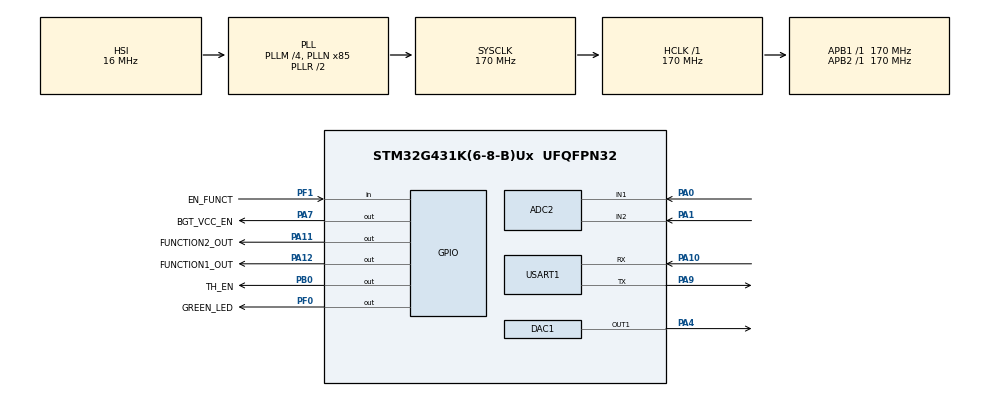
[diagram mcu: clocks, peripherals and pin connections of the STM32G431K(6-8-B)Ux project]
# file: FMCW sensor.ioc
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ADC2.Channel-0\#ChannelRegularConversion=ADC_CHANNEL_1
ADC2.Channel-1\#ChannelRegularConversion=ADC_CHANNEL_2
ADC2.ExternalTrigConv=ADC_EXTERNALTRIG_T7_TRGO
ADC2.NbrOfConversion=2
ADC2.NbrOfConversionFlag=1
ADC2.OffsetNumber-0\#ChannelRegularConversion=ADC_OFFSET_NONE
ADC2.OffsetNumber-1\#ChannelRegularConversion=ADC_OFFSET_NONE
ADC2.Rank-0\#ChannelRegularConversion=1
ADC2.Rank-1\#ChannelRegularConversion=2
ADC2.SamplingTime-0\#ChannelRegularConversion=ADC_SAMPLETIME_2CYCLES_5
ADC2.SamplingTime-1\#ChannelRegularConversion=ADC_SAMPLETIME_2CYCLES_5
DAC1.DAC_Trigger_OUT1-DAC_OUT1=DAC_TRIGGER_T6_TRGO
Dma.ADC2.1.Direction=DMA_PERIPH_TO_MEMORY
Dma.ADC2.1.EventEnable=DISABLE
Dma.ADC2.1.Instance=DMA1_Channel2
Dma.ADC2.1.MemDataAlignment=DMA_MDATAALIGN_HALFWORD
Dma.ADC2.1.MemInc=DMA_MINC_ENABLE
Dma.ADC2.1.Mode=DMA_CIRCULAR
Dma.ADC2.1.PeriphDataAlignment=DMA_PDATAALIGN_HALFWORD
Dma.ADC2.1.PeriphInc=DMA_PINC_DISABLE
Dma.ADC2.1.Polarity=HAL_DMAMUX_REQ_GEN_RISING
Dma.ADC2.1.Priority=DMA_PRIORITY_LOW
Dma.ADC2.1.RequestNumber=1
Dma.ADC2.1.SignalID=NONE
Dma.ADC2.1.SyncEnable=DISABLE
Dma.ADC2.1.SyncPolarity=HAL_DMAMUX_SYNC_NO_EVENT
Dma.ADC2.1.SyncRequestNumber=1
Dma.ADC2.1.SyncSignalID=NONE
Dma.DAC1_CH1.0.Direction=DMA_MEMORY_TO_PERIPH
Dma.DAC1_CH1.0.EventEnable=DISABLE
Dma.DAC1_CH1.0.Instance=DMA1_Channel1
Dma.DAC1_CH1.0.MemDataAlignment=DMA_MDATAALIGN_WORD
Dma.DAC1_CH1.0.MemInc=DMA_MINC_ENABLE
Dma.DAC1_CH1.0.Mode=DMA_CIRCULAR
Dma.DAC1_CH1.0.PeriphDataAlignment=DMA_PDATAALIGN_WORD
Dma.DAC1_CH1.0.PeriphInc=DMA_PINC_DISABLE
Dma.DAC1_CH1.0.Polarity=HAL_DMAMUX_REQ_GEN_RISING
Dma.DAC1_CH1.0.Priority=DMA_PRIORITY_LOW
Dma.DAC1_CH1.0.RequestNumber=1
Dma.DAC1_CH1.0.SignalID=NONE
Dma.DAC1_CH1.0.SyncEnable=DISABLE
Dma.DAC1_CH1.0.SyncPolarity=HAL_DMAMUX_SYNC_NO_EVENT
Dma.DAC1_CH1.0.SyncRequestNumber=1
Dma.DAC1_CH1.0.SyncSignalID=NONE
Dma.Request0=DAC1_CH1
Dma.Request1=ADC2
Mcu.Family=STM32G4
Mcu.Name=STM32G431K(6-8-B)Ux
Mcu.Package=UFQFPN32
NVIC.DMA1_Channel1_IRQn=true\:0\:0\:false\:false\:true\:false\:true\:true
NVIC.DMA1_Channel2_IRQn=true\:0\:0\:false\:false\:true\:false\:true\:true
NVIC.PriorityGroup=NVIC_PRIORITYGROUP_4
NVIC.TIM1_CC_IRQn=true\:0\:0\:false\:false\:true\:true\:true\:true
PA0.Mode=IN1-Single-Ended
PA0.Signal=ADC2_IN1
PA1.Mode=IN2-Single-Ended
PA1.Signal=ADC2_IN2
PA10.Mode=Asynchronous
PA10.Signal=USART1_RX
PA11.GPIO_Label=FUNCTION2_OUT
PA11.Signal=GPIO_Output
PA12.GPIO_Label=FUNCTION1_OUT
PA12.Signal=GPIO_Output
PA13.Mode=Trace_Asynchronous_SW
PA13.Signal=SYS_JTMS-SWDIO
PA14.Mode=Trace_Asynchronous_SW
PA14.Signal=SYS_JTCK-SWCLK
PA4.Signal=COMP_DAC11_group
PA7.GPIO_Label=BGT_VCC_EN
PA7.PinState=GPIO_PIN_SET
PA7.Signal=GPIO_Output
PA9.Mode=Asynchronous
PA9.Signal=USART1_TX
PB0.GPIO_Label=TH_EN
PB0.Signal=GPIO_Output
PB3.Mode=Trace_Asynchronous_SW
PB3.Signal=SYS_JTDO-SWO
PF0-OSC_IN.GPIO_Label=GREEN_LED
PF0-OSC_IN.Signal=GPIO_Output
PF1-OSC_OUT.GPIO_Label=EN_FUNCT
PF1-OSC_OUT.Signal=GPIO_Input
ProjectManager.HeapSize=0x200
ProjectManager.StackSize=0x400
ProjectManager.TargetToolchain=STM32CubeIDE
RCC.ADC12Freq_Value=170000000
RCC.AHBFreq_Value=170000000
RCC.APB1Freq_Value=170000000
RCC.APB1TimFreq_Value=170000000
RCC.APB2Freq_Value=170000000
RCC.APB2TimFreq_Value=170000000
RCC.CortexFreq_Value=170000000
RCC.EXTERNAL_CLOCK_VALUE=12288000
RCC.HCLKFreq_Value=170000000
RCC.HSE_VALUE=8000000
RCC.HSI48_VALUE=48000000
RCC.HSI_VALUE=16000000
RCC.LSE_VALUE=32768
RCC.PLLM=RCC_PLLM_DIV4
RCC.PLLN=85
RCC.SYSCLKFreq_VALUE=170000000
RCC.SYSCLKSource=RCC_SYSCLKSOURCE_PLLCLK
RCC.USBFreq_Value=170000000
RCC.VCOOutputFreq_Value=340000000
SH.COMP_DAC11_group.0=DAC1_OUT1,DAC_OUT1
TIM1.Channel-PWM\ Generation1\ No\ Output=TIM_CHANNEL_1
TIM1.Channel-PWM\ Generation2\ No\ Output=TIM_CHANNEL_2
TIM1.PeriodNoDither=500
TIM1.Prescaler=169
TIM1.PulseNoDither_1=20
TIM1.PulseNoDither_2=40
TIM6.PeriodNoDither=2
TIM6.Prescaler=21
TIM6.TIM_MasterOutputTrigger=TIM_TRGO_UPDATE
TIM7.PeriodNoDither=2
TIM7.Prescaler=84
TIM7.TIM_MasterOutputTrigger=TIM_TRGO_UPDATE
USART1.VirtualMode-Asynchronous=VM_ASYNC
VP_SYS_VS_DBSignals.Mode=DisableDeadBatterySignals
VP_TIM1_VS_ClockSourceINT.Mode=Internal
VP_TIM1_VS_no_output1.Mode=PWM Generation1 No Output
VP_TIM1_VS_no_output2.Mode=PWM Generation2 No Output
VP_TIM6_VS_ClockSourceINT.Mode=Enable_Timer
VP_TIM7_VS_ClockSourceINT.Mode=Enable_Timer
board=custom

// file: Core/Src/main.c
/* USER CODE BEGIN Header */
/**
  ******************************************************************************
  * @file           : main.c
  * @brief          : Main program body
  ******************************************************************************
  * @attention
  *
  * Copyright (c) 2024 STMicroelectronics.
  * All rights reserved.
  *
  * This software is licensed under terms that can be found in the LICENSE file
  * in the root directory of this software component.
  * If no LICENSE file comes with this software, it is provided AS-IS.
  *
  ******************************************************************************
  */
/* USER CODE END Header */
#include "main.h"

/* USER CODE BEGIN Includes */

#include "arm_math.h"

/* USER CODE END Includes */

/* USER CODE BEGIN PM */

#define DAC_BUFFER_LEN 		 				1024	// DAC_BUFFLEN steps for in micro seconds
#define DAC_SLOPE_VALUE 	 				2
#define DAC_SLOPE_START_VALUE				50 		//initial value (DAC_SLOPE_START_VALUE+DAC_BUFFLEN*DAC_SLOPE_VALUE)<4096  //850
#define ADC_SAMPLES							256		// 128 двойки числа - комплексни (такта)
#define FFT_BUFFER_SIZE				 ((uint32_t)(ADC_SAMPLES/4))

/* USER CODE END PM */

ADC_HandleTypeDef hadc2;
DMA_HandleTypeDef hdma_adc2;

DAC_HandleTypeDef hdac1;
DMA_HandleTypeDef hdma_dac1_ch1;

TIM_HandleTypeDef htim1;
TIM_HandleTypeDef htim6;
TIM_HandleTypeDef htim7;

UART_HandleTypeDef huart1;

/* USER CODE BEGIN PV */

arm_cfft_radix4_instance_f32 fftHandler;

float fftBufIn[ADC_SAMPLES];
float fftBufOut[ADC_SAMPLES];

uint8_t fftFlag = 0; //Flag for when the transformation is complete
uint8_t do_fft = 0; //Flag for when ADC has new data for us to read

/* I have no idea if these should be volatiles but it works for now */
volatile uint32_t dac_data[DAC_BUFFER_LEN]; //Values for different voltages in the slope of the sawtooth voltage
volatile uint16_t adcBuffer[ADC_SAMPLES + 16]; //Array of ADC data

/* USER CODE END PV */

void SystemClock_Config(void);
static void MX_GPIO_Init(void);
static void MX_DMA_Init(void);
static void MX_ADC2_Init(void);
static void MX_DAC1_Init(void);
static void MX_USART1_UART_Init(void);
static void MX_TIM1_Init(void);
static void MX_TIM6_Init(void);
static void MX_TIM7_Init(void);
/* USER CODE BEGIN PFP */

void DAC_Slope_Init(void);  //Creates an array of steps to use later for the sawtooth voltage (this did not work, so no good looking code here)
void do_fft_func(void);

/* USER CODE END PFP */

int main(void)
{

  /* MCU Configuration--------------------------------------------------------*/

  /* Reset of all peripherals, Initializes the Flash interface and the Systick. */
  HAL_Init();

  /* Configure the system clock */
  SystemClock_Config();

  /* Initialize all configured peripherals */
  MX_GPIO_Init();
  MX_DMA_Init();
  MX_ADC2_Init();
  MX_DAC1_Init();
  MX_USART1_UART_Init();
  MX_TIM1_Init();
  MX_TIM6_Init();
  MX_TIM7_Init();
  /* USER CODE BEGIN 2 */
  /* sawtooth voltage init for now, don't kill me spaghetti code pls */
  for(int16_t i; i < DAC_BUFFER_LEN; i++){
    			dac_data[i] = DAC_SLOPE_START_VALUE + i * DAC_SLOPE_VALUE;
   }

  HAL_TIM_PWM_Start_IT(&htim1, TIM_CHANNEL_1); //Impulse for DAC sawtooth voltage
  HAL_TIM_PWM_Start_IT(&htim1, TIM_CHANNEL_2); //Impulse for ADC read

  /* Ports for high frequency chip */
  HAL_GPIO_WritePin(BGT_VCC_EN_GPIO_Port, BGT_VCC_EN_Pin, RESET);
  HAL_GPIO_WritePin(TH_EN_GPIO_Port, TH_EN_Pin, SET);

  HAL_DAC_Start_DMA(&hdac1, DAC_CHANNEL_1, (uint32_t *)dac_data, DAC_BUFFER_LEN, DAC_ALIGN_12B_R);

  /* FFT init */
  //arm_rfft_fast_init_f32(&fftHandler, FFT_BUFFER_SIZE);

  /* USER CODE END 2 */

  /* Infinite loop */
  /* USER CODE BEGIN WHILE */
  while (1)
  {

	  if(do_fft){
		  do_fft_func();
	  }

    /* USER CODE END WHILE */

  }
}

void SystemClock_Config(void)
{
  RCC_OscInitTypeDef RCC_OscInitStruct = {0};
  RCC_ClkInitTypeDef RCC_ClkInitStruct = {0};

  /** Configure the main internal regulator output voltage
  */
  HAL_PWREx_ControlVoltageScaling(PWR_REGULATOR_VOLTAGE_SCALE1_BOOST);

  /** Initializes the RCC Oscillators according to the specified parameters
  * in the RCC_OscInitTypeDef structure.
  */
  RCC_OscInitStruct.OscillatorType = RCC_OSCILLATORTYPE_HSI;
  RCC_OscInitStruct.HSIState = RCC_HSI_ON;
  RCC_OscInitStruct.HSICalibrationValue = RCC_HSICALIBRATION_DEFAULT;
  RCC_OscInitStruct.PLL.PLLState = RCC_PLL_ON;
  RCC_OscInitStruct.PLL.PLLSource = RCC_PLLSOURCE_HSI;
  RCC_OscInitStruct.PLL.PLLM = RCC_PLLM_DIV4;
  RCC_OscInitStruct.PLL.PLLN = 85;
  RCC_OscInitStruct.PLL.PLLP = RCC_PLLP_DIV2;
  RCC_OscInitStruct.PLL.PLLQ = RCC_PLLQ_DIV2;
  RCC_OscInitStruct.PLL.PLLR = RCC_PLLR_DIV2;
  if (HAL_RCC_OscConfig(&RCC_OscInitStruct) != HAL_OK)
  {
    Error_Handler();
  }

  /** Initializes the CPU, AHB and APB buses clocks
  */
  RCC_ClkInitStruct.ClockType = RCC_CLOCKTYPE_HCLK|RCC_CLOCKTYPE_SYSCLK
                              |RCC_CLOCKTYPE_PCLK1|RCC_CLOCKTYPE_PCLK2;
  RCC_ClkInitStruct.SYSCLKSource = RCC_SYSCLKSOURCE_PLLCLK;
  RCC_ClkInitStruct.AHBCLKDivider = RCC_SYSCLK_DIV1;
  RCC_ClkInitStruct.APB1CLKDivider = RCC_HCLK_DIV1;
  RCC_ClkInitStruct.APB2CLKDivider = RCC_HCLK_DIV1;

  if (HAL_RCC_ClockConfig(&RCC_ClkInitStruct, FLASH_LATENCY_4) != HAL_OK)
  {
    Error_Handler();
  }
}

static void MX_ADC2_Init(void)
{

  ADC_ChannelConfTypeDef sConfig = {0};

  /** Common config
  */
  hadc2.Instance = ADC2;
  hadc2.Init.ClockPrescaler = ADC_CLOCK_SYNC_PCLK_DIV4;
  hadc2.Init.Resolution = ADC_RESOLUTION_12B;
  hadc2.Init.DataAlign = ADC_DATAALIGN_RIGHT;
  hadc2.Init.GainCompensation = 0;
  hadc2.Init.ScanConvMode = ADC_SCAN_ENABLE;
  hadc2.Init.EOCSelection = ADC_EOC_SINGLE_CONV;
  hadc2.Init.LowPowerAutoWait = DISABLE;
  hadc2.Init.ContinuousConvMode = DISABLE;
  hadc2.Init.NbrOfConversion = 2;
  hadc2.Init.DiscontinuousConvMode = DISABLE;
  hadc2.Init.ExternalTrigConv = ADC_EXTERNALTRIG_T7_TRGO;
  hadc2.Init.ExternalTrigConvEdge = ADC_EXTERNALTRIGCONVEDGE_RISING;
  hadc2.Init.DMAContinuousRequests = DISABLE;
  hadc2.Init.Overrun = ADC_OVR_DATA_PRESERVED;
  hadc2.Init.OversamplingMode = DISABLE;
  if (HAL_ADC_Init(&hadc2) != HAL_OK)
  {
    Error_Handler();
  }

  /** Configure Regular Channel
  */
  sConfig.Channel = ADC_CHANNEL_1;
  sConfig.Rank = ADC_REGULAR_RANK_1;
  sConfig.SamplingTime = ADC_SAMPLETIME_2CYCLES_5;
  sConfig.SingleDiff = ADC_SINGLE_ENDED;
  sConfig.OffsetNumber = ADC_OFFSET_NONE;
  sConfig.Offset = 0;
  if (HAL_ADC_ConfigChannel(&hadc2, &sConfig) != HAL_OK)
  {
    Error_Handler();
  }

  /** Configure Regular Channel
  */
  sConfig.Channel = ADC_CHANNEL_2;
  sConfig.Rank = ADC_REGULAR_RANK_2;
  if (HAL_ADC_ConfigChannel(&hadc2, &sConfig) != HAL_OK)
  {
    Error_Handler();
  }

}

static void MX_DAC1_Init(void)
{

  DAC_ChannelConfTypeDef sConfig = {0};

  /** DAC Initialization
  */
  hdac1.Instance = DAC1;
  if (HAL_DAC_Init(&hdac1) != HAL_OK)
  {
    Error_Handler();
  }

  /** DAC channel OUT1 config
  */
  sConfig.DAC_HighFrequency = DAC_HIGH_FREQUENCY_INTERFACE_MODE_AUTOMATIC;
  sConfig.DAC_DMADoubleDataMode = DISABLE;
  sConfig.DAC_SignedFormat = DISABLE;
  sConfig.DAC_SampleAndHold = DAC_SAMPLEANDHOLD_DISABLE;
  sConfig.DAC_Trigger = DAC_TRIGGER_T6_TRGO;
  sConfig.DAC_Trigger2 = DAC_TRIGGER_NONE;
  sConfig.DAC_OutputBuffer = DAC_OUTPUTBUFFER_ENABLE;
  sConfig.DAC_ConnectOnChipPeripheral = DAC_CHIPCONNECT_EXTERNAL;
  sConfig.DAC_UserTrimming = DAC_TRIMMING_FACTORY;
  if (HAL_DAC_ConfigChannel(&hdac1, &sConfig, DAC_CHANNEL_1) != HAL_OK)
  {
    Error_Handler();
  }

}

static void MX_TIM1_Init(void)
{

  TIM_ClockConfigTypeDef sClockSourceConfig = {0};
  TIM_MasterConfigTypeDef sMasterConfig = {0};
  TIM_OC_InitTypeDef sConfigOC = {0};
  TIM_BreakDeadTimeConfigTypeDef sBreakDeadTimeConfig = {0};

  htim1.Instance = TIM1;
  htim1.Init.Prescaler = 169;
  htim1.Init.CounterMode = TIM_COUNTERMODE_UP;
  htim1.Init.Period = 500;
  htim1.Init.ClockDivision = TIM_CLOCKDIVISION_DIV1;
  htim1.Init.RepetitionCounter = 0;
  htim1.Init.AutoReloadPreload = TIM_AUTORELOAD_PRELOAD_DISABLE;
  if (HAL_TIM_Base_Init(&htim1) != HAL_OK)
  {
    Error_Handler();
  }
  sClockSourceConfig.ClockSource = TIM_CLOCKSOURCE_INTERNAL;
  if (HAL_TIM_ConfigClockSource(&htim1, &sClockSourceConfig) != HAL_OK)
  {
    Error_Handler();
  }
  if (HAL_TIM_PWM_Init(&htim1) != HAL_OK)
  {
    Error_Handler();
  }
  sMasterConfig.MasterOutputTrigger = TIM_TRGO_RESET;
  sMasterConfig.MasterOutputTrigger2 = TIM_TRGO2_RESET;
  sMasterConfig.MasterSlaveMode = TIM_MASTERSLAVEMODE_DISABLE;
  if (HAL_TIMEx_MasterConfigSynchronization(&htim1, &sMasterConfig) != HAL_OK)
  {
    Error_Handler();
  }
  sConfigOC.OCMode = TIM_OCMODE_PWM1;
  sConfigOC.Pulse = 20;
  sConfigOC.OCPolarity = TIM_OCPOLARITY_HIGH;
  sConfigOC.OCNPolarity = TIM_OCNPOLARITY_HIGH;
  sConfigOC.OCFastMode = TIM_OCFAST_DISABLE;
  sConfigOC.OCIdleState = TIM_OCIDLESTATE_RESET;
  sConfigOC.OCNIdleState = TIM_OCNIDLESTATE_RESET;
  if (HAL_TIM_PWM_ConfigChannel(&htim1, &sConfigOC, TIM_CHANNEL_1) != HAL_OK)
  {
    Error_Handler();
  }
  sConfigOC.Pulse = 40;
  if (HAL_TIM_PWM_ConfigChannel(&htim1, &sConfigOC, TIM_CHANNEL_2) != HAL_OK)
  {
    Error_Handler();
  }
  sBreakDeadTimeConfig.OffStateRunMode = TIM_OSSR_DISABLE;
  sBreakDeadTimeConfig.OffStateIDLEMode = TIM_OSSI_DISABLE;
  sBreakDeadTimeConfig.LockLevel = TIM_LOCKLEVEL_OFF;
  sBreakDeadTimeConfig.DeadTime = 0;
  sBreakDeadTimeConfig.BreakState = TIM_BREAK_DISABLE;
  sBreakDeadTimeConfig.BreakPolarity = TIM_BREAKPOLARITY_HIGH;
  sBreakDeadTimeConfig.BreakFilter = 0;
  sBreakDeadTimeConfig.BreakAFMode = TIM_BREAK_AFMODE_INPUT;
  sBreakDeadTimeConfig.Break2State = TIM_BREAK2_DISABLE;
  sBreakDeadTimeConfig.Break2Polarity = TIM_BREAK2POLARITY_HIGH;
  sBreakDeadTimeConfig.Break2Filter = 0;
  sBreakDeadTimeConfig.Break2AFMode = TIM_BREAK_AFMODE_INPUT;
  sBreakDeadTimeConfig.AutomaticOutput = TIM_AUTOMATICOUTPUT_DISABLE;
  if (HAL_TIMEx_ConfigBreakDeadTime(&htim1, &sBreakDeadTimeConfig) != HAL_OK)
  {
    Error_Handler();
  }

}

static void MX_TIM6_Init(void)
{

  TIM_MasterConfigTypeDef sMasterConfig = {0};

  htim6.Instance = TIM6;
  htim6.Init.Prescaler = 21;
  htim6.Init.CounterMode = TIM_COUNTERMODE_UP;
  htim6.Init.Period = 2;
  htim6.Init.AutoReloadPreload = TIM_AUTORELOAD_PRELOAD_DISABLE;
  if (HAL_TIM_Base_Init(&htim6) != HAL_OK)
  {
    Error_Handler();
  }
  sMasterConfig.MasterOutputTrigger = TIM_TRGO_UPDATE;
  sMasterConfig.MasterSlaveMode = TIM_MASTERSLAVEMODE_DISABLE;
  if (HAL_TIMEx_MasterConfigSynchronization(&htim6, &sMasterConfig) != HAL_OK)
  {
    Error_Handler();
  }

}

static void MX_TIM7_Init(void)
{

  TIM_MasterConfigTypeDef sMasterConfig = {0};

  htim7.Instance = TIM7;
  htim7.Init.Prescaler = 84;
  htim7.Init.CounterMode = TIM_COUNTERMODE_UP;
  htim7.Init.Period = 2;
  htim7.Init.AutoReloadPreload = TIM_AUTORELOAD_PRELOAD_DISABLE;
  if (HAL_TIM_Base_Init(&htim7) != HAL_OK)
  {
    Error_Handler();
  }
  sMasterConfig.MasterOutputTrigger = TIM_TRGO_UPDATE;
  sMasterConfig.MasterSlaveMode = TIM_MASTERSLAVEMODE_DISABLE;
  if (HAL_TIMEx_MasterConfigSynchronization(&htim7, &sMasterConfig) != HAL_OK)
  {
    Error_Handler();
  }

}

static void MX_USART1_UART_Init(void)
{

  huart1.Instance = USART1;
  huart1.Init.BaudRate = 115200;
  huart1.Init.WordLength = UART_WORDLENGTH_8B;
  huart1.Init.StopBits = UART_STOPBITS_1;
  huart1.Init.Parity = UART_PARITY_NONE;
  huart1.Init.Mode = UART_MODE_TX_RX;
  huart1.Init.HwFlowCtl = UART_HWCONTROL_NONE;
  huart1.Init.OverSampling = UART_OVERSAMPLING_16;
  huart1.Init.OneBitSampling = UART_ONE_BIT_SAMPLE_DISABLE;
  huart1.Init.ClockPrescaler = UART_PRESCALER_DIV1;
  huart1.AdvancedInit.AdvFeatureInit = UART_ADVFEATURE_NO_INIT;
  if (HAL_UART_Init(&huart1) != HAL_OK)
  {
    Error_Handler();
  }
  if (HAL_UARTEx_SetTxFifoThreshold(&huart1, UART_TXFIFO_THRESHOLD_1_8) != HAL_OK)
  {
    Error_Handler();
  }
  if (HAL_UARTEx_SetRxFifoThreshold(&huart1, UART_RXFIFO_THRESHOLD_1_8) != HAL_OK)
  {
    Error_Handler();
  }
  if (HAL_UARTEx_DisableFifoMode(&huart1) != HAL_OK)
  {
    Error_Handler();
  }

}

static void MX_DMA_Init(void)
{

  /* DMA controller clock enable */
  __HAL_RCC_DMAMUX1_CLK_ENABLE();
  __HAL_RCC_DMA1_CLK_ENABLE();

  /* DMA interrupt init */
  /* DMA1_Channel1_IRQn interrupt configuration */
  HAL_NVIC_SetPriority(DMA1_Channel1_IRQn, 0, 0);
  HAL_NVIC_EnableIRQ(DMA1_Channel1_IRQn);
  /* DMA1_Channel2_IRQn interrupt configuration */
  HAL_NVIC_SetPriority(DMA1_Channel2_IRQn, 0, 0);
  HAL_NVIC_EnableIRQ(DMA1_Channel2_IRQn);

}

static void MX_GPIO_Init(void)
{
  GPIO_InitTypeDef GPIO_InitStruct = {0};

  /* GPIO Ports Clock Enable */
  __HAL_RCC_GPIOF_CLK_ENABLE();
  __HAL_RCC_GPIOA_CLK_ENABLE();
  __HAL_RCC_GPIOB_CLK_ENABLE();

  /*Configure GPIO pin Output Level */
  HAL_GPIO_WritePin(GREEN_LED_GPIO_Port, GREEN_LED_Pin, GPIO_PIN_RESET);

  /*Configure GPIO pin Output Level */
  HAL_GPIO_WritePin(BGT_VCC_EN_GPIO_Port, BGT_VCC_EN_Pin, GPIO_PIN_SET);

  /*Configure GPIO pin Output Level */
  HAL_GPIO_WritePin(TH_EN_GPIO_Port, TH_EN_Pin, GPIO_PIN_RESET);

  /*Configure GPIO pin Output Level */
  HAL_GPIO_WritePin(GPIOA, FUNCTION2_OUT_Pin|FUNCTION1_OUT_Pin, GPIO_PIN_RESET);

  /*Configure GPIO pin : GREEN_LED_Pin */
  GPIO_InitStruct.Pin = GREEN_LED_Pin;
  GPIO_InitStruct.Mode = GPIO_MODE_OUTPUT_PP;
  GPIO_InitStruct.Pull = GPIO_NOPULL;
  GPIO_InitStruct.Speed = GPIO_SPEED_FREQ_LOW;
  HAL_GPIO_Init(GREEN_LED_GPIO_Port, &GPIO_InitStruct);

  /*Configure GPIO pin : EN_FUNCT_Pin */
  GPIO_InitStruct.Pin = EN_FUNCT_Pin;
  GPIO_InitStruct.Mode = GPIO_MODE_INPUT;
  GPIO_InitStruct.Pull = GPIO_NOPULL;
  HAL_GPIO_Init(EN_FUNCT_GPIO_Port, &GPIO_InitStruct);

  /*Configure GPIO pins : BGT_VCC_EN_Pin FUNCTION2_OUT_Pin FUNCTION1_OUT_Pin */
  GPIO_InitStruct.Pin = BGT_VCC_EN_Pin|FUNCTION2_OUT_Pin|FUNCTION1_OUT_Pin;
  GPIO_InitStruct.Mode = GPIO_MODE_OUTPUT_PP;
  GPIO_InitStruct.Pull = GPIO_NOPULL;
  GPIO_InitStruct.Speed = GPIO_SPEED_FREQ_LOW;
  HAL_GPIO_Init(GPIOA, &GPIO_InitStruct);

  /*Configure GPIO pin : TH_EN_Pin */
  GPIO_InitStruct.Pin = TH_EN_Pin;
  GPIO_InitStruct.Mode = GPIO_MODE_OUTPUT_PP;
  GPIO_InitStruct.Pull = GPIO_NOPULL;
  GPIO_InitStruct.Speed = GPIO_SPEED_FREQ_LOW;
  HAL_GPIO_Init(TH_EN_GPIO_Port, &GPIO_InitStruct);

}

/* USER CODE BEGIN 4 */

	/* Callback for timer one impulses for DAC voltage and ADC sample read */
	void HAL_TIM_PWM_PulseFinishedCallback(TIM_HandleTypeDef *htim1){

		 if(htim1->Channel == HAL_TIM_ACTIVE_CHANNEL_1) // Start generating sawtooth voltage
		 {

			HAL_GPIO_WritePin(GREEN_LED_GPIO_Port, GREEN_LED_Pin, SET); //breakpoint test
			HAL_TIM_Base_Start(&htim6); //start DAC timer

		 }

		 if(htim1->Channel == HAL_TIM_ACTIVE_CHANNEL_2) // Start reading ADC a bit later
		 {
            HAL_ADC_Start_DMA(&hadc2, (uint32_t *)&adcBuffer, (ADC_SAMPLES+2)); // Reading from ADC and writing in buffer
	        HAL_TIM_Base_Start(&htim7); //start ADC timer
	 	 	//HAL_GPIO_WritePin(GREEN_LED_GPIO_Port, GREEN_LED_Pin,RESET);

		 }
	}

	/* Set the DAC DMA transfer complete callback */
	void HAL_DAC_ConvCpltCallbackCh1(DAC_HandleTypeDef *hdac1){  //Stop generating sawtooth voltage

		 	HAL_TIM_Base_Stop(&htim6);

	}

	/* Set the ADC DMA transfer complete callback */
	void HAL_ADC_ConvCpltCallback(ADC_HandleTypeDef *hadc2){  // Stop reading ADC

		 HAL_TIM_Base_Stop(&htim7);
		 do_fft = 1;

	}

	void do_fft_func(void){

		for(int i = 0; i < ADC_SAMPLES; i++){
			fftBufIn[i] = adcBuffer[i];
		}

		arm_cfft_radix4_init_f32(&fftHandler, FFT_BUFFER_SIZE, 0, 1); //init fft here cuz idk it doesn't seem to work up there

		arm_cfft_radix4_f32(&fftHandler, fftBufIn); //complete fft, but in complex numbers
		arm_cmplx_mag_f32(fftBufIn, fftBufOut, FFT_BUFFER_SIZE); // p theorem to get amplitude

		do_fft = 0;
	}

/* USER CODE END 4 */

void Error_Handler(void)
{
  __disable_irq();
  while (1)
  {
  }
}
